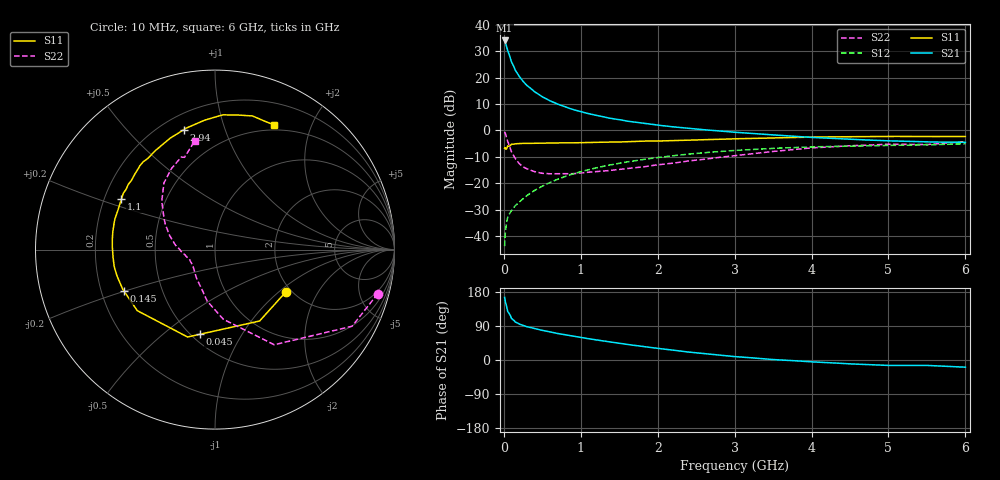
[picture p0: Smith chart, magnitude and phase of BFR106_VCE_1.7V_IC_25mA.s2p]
! Infineon Technologies  Discrete & RF Semiconductors
! BFR106
! VCE =  1.7 V,  IC =  25 mA
! Common Emitter S-Parameters:  Nov 2015
# GHz  S  MA  R  50
!  f  S11  S21  S12  S22
! GHz  MAG  ANG  MAG  ANG  MAG  ANG  MAG  ANG
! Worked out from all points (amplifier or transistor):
!   210 points, 10 MHz to 6 GHz, reference 50 ohm
!   highest |S21| = 34.1 dB at 10 MHz (marker M1)
!   |S21| within 3 dB of that: start of sweep to 41.4 MHz
!   unconditionally stable (mu >= 1): 327.5 MHz to 2.672 GHz; 5.017 GHz to end of sweep
!   at 185 MHz: K = 0.83, MSG = 24.4 dB, |S12| = -27.5 dB
!   at 1.52 GHz: K = 1.07, MAG = 6.6 dB, |S12| = -12.3 dB
!   at 6 GHz: K = 1.01, MAG = -0.4 dB, |S12| = -5.0 dB
!   S11 on the Smith chart (normalised r, x): 10 MHz: 1.87, -1.12; 45 MHz: 0.55, -0.67; 145 MHz: 0.30, -0.20; 1.1 GHz: 0.27, +0.23; 2.94 GHz: 0.29, +0.73; 6 GHz: 0.44, +1.49
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0.01  0.4597 -30.8  50.9 165.2  0.0064 80.8  0.94 -15.1
0.02  0.469 -58.0  46.89 153.0  0.0121 70.4  0.875 -29.2
0.045  0.4799 -100.3  34.56 133.3  0.0208 58.0  0.6519 -51.9
0.05  0.5104 -107.4  32.8 127.8  0.0226 56.7  0.6245 -58.1
0.1  0.5508 -141.9  19.86 109.3  0.0305 52.0  0.3905 -83.2
0.145  0.5569 -155.4  14.37 101.5  0.0368 53.9  0.2997 -96.5
0.15  0.5595 -156.9  13.79 100.2  0.0375 54.1  0.291 -98.5
0.2  0.565 -164.6  10.58 94.9  0.044 57.3  0.2353 -107.8
0.24  0.5682 -169.0  8.912 91.7  0.0494 59.5  0.2095 -115.0
0.3  0.5695 -174.3  7.132 87.8  0.0582 62.3  0.1878 -123.6
0.4  0.5723 179.2  5.414 82.8  0.0729 64.5  0.1656 -134.4
0.5  0.5751 174.1  4.346 78.2  0.0876 65.2  0.1541 -141.9
0.6  0.5783 169.7  3.652 74.0  0.1033 65.6  0.151 -146.8
0.8  0.5833 162.8  2.781 66.4  0.1344 64.6  0.1519 -156.3
1.02  0.588 154.5  2.231 59.0  0.1682 62.7  0.157 -162.5
1.1  0.5923 151.8  2.084 56.1  0.1801 61.7  0.1619 -164.7
2.02  0.6317 126.1  1.253 30.3  0.3092 48.0  0.225 172.5
2.94  0.6901 104.7  0.942 10.2  0.4122 33.0  0.3254 150.0
3.1  0.6994 101.7  0.904 7.6  0.4259 30.4  0.3446 146.2
4.1  0.753 85.3  0.727 -5.8  0.4924 15.3  0.4754 125.5
5.1  0.7715 73.2  0.63 -14.3  0.5241 3.1  0.5473 109.7
6  0.7685 64.8  0.597 -19.0  0.5594 -6.0  0.6152 100.6
